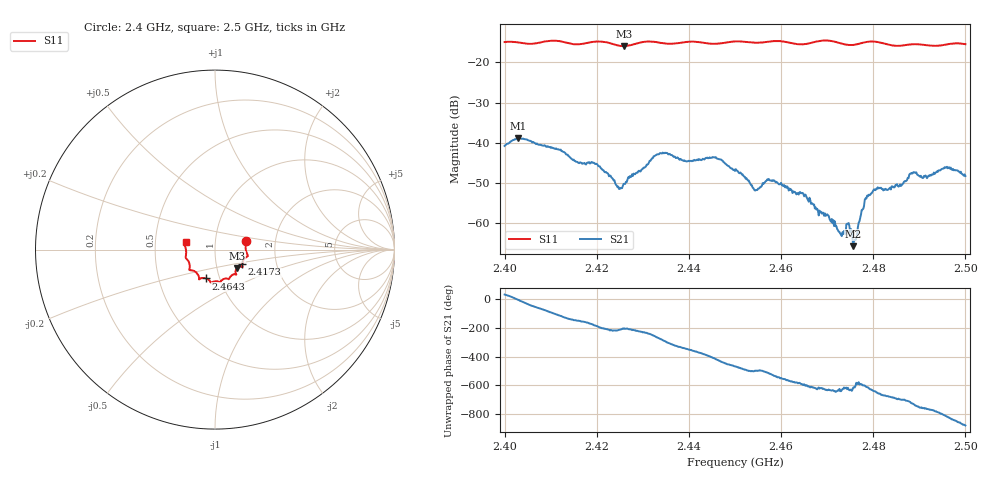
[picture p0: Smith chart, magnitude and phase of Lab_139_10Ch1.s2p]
# Hz S RI R
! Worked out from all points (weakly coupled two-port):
!   601 points, 2.4 GHz to 2.5 GHz, reference 50 ohm
!   highest |S21| = -38.85 dB at 2.4028 GHz (marker M1); lowest = -65.8 dB at 2.4757 GHz (marker M2)
!   lowest |S11| = -15.9 dB at 2.4258 GHz (marker M3), VSWR 1.38, Z = 62.3 - j13.3 ohm
!   |S11| at or under -10 dB: start of sweep to end of sweep
!   S12 and S22 are empty: the file has one direction only
!   S11 on the Smith chart (normalised r, x): 2.4 GHz: 1.41, +0.14; 2.4173 GHz: 1.34, -0.23; 2.4643 GHz: 0.86, -0.28; 2.5 GHz: 0.72, +0.06
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2.4e9  0.1732 0.0484  0.00753 0.00515  0 0  0 0
2.402833e9  0.1748 0.0356  0.0114 -0.00032  0 0  0 0
2.416667e9  0.1528 -0.0746  -0.00501 -0.00254  0 0  0 0
2.417333e9  0.1518 -0.0822  -0.00516 -0.00219  0 0  0 0
2.425833e9  0.1216 -0.1037  -0.00278 0.0013  0 0  0 0
2.433333e9  0.1129 -0.1372  -9.47e-05 0.00718  0 0  0 0
2.445667e9  0.0499 -0.1635  0.00392 -0.00527  0 0  0 0
2.45e9  0.0289 -0.1809  -0.0013 -0.00426  0 0  0 0
2.454333e9  0.00749 -0.1762  -0.00185 -0.00174  0 0  0 0
2.4575e9  -0.0167 -0.1815  -0.00318 -0.00123  0 0  0 0
2.464333e9  -0.0499 -0.1606  -0.00149 0.00181  0 0  0 0
2.466667e9  -0.076 -0.1592  -0.000529 0.00169  0 0  0 0
2.473e9  -0.091 -0.1467  0.000124 0.000706  0 0  0 0
2.474667e9  -0.103 -0.1293  -3.53e-05 0.000996  0 0  0 0
2.475667e9  -0.1128 -0.1212  -0.000132 0.000496  0 0  0 0
2.476167e9  -0.118 -0.1187  -0.000307 0.00053  0 0  0 0
2.478667e9  -0.1392 -0.115  -0.000697 0.00207  0 0  0 0
2.483333e9  -0.1407 -0.0898  0.00195 0.00178  0 0  0 0
2.488833e9  -0.1625 -0.0463  0.0042 -0.000907  0 0  0 0
2.491333e9  -0.1617 -0.0317  0.00301 -0.0025  0 0  0 0
2.496e9  -0.1667 0.0196  -0.000696 -0.00497  0 0  0 0
2.5e9  -0.1637 0.0424  -0.00359 -0.00137  0 0  0 0
